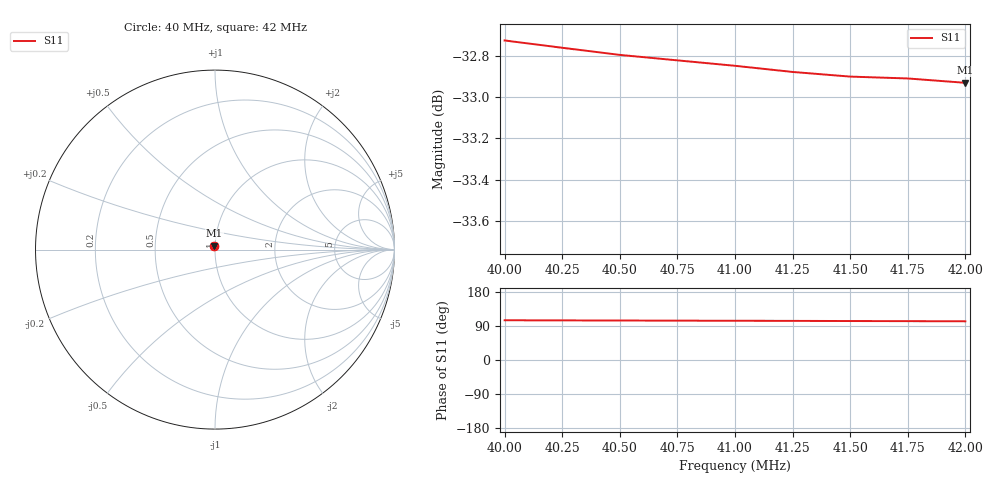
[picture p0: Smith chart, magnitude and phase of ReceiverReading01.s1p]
# Hz S RI R 50
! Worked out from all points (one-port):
!   9 points, 40 MHz to 42 MHz, reference 50 ohm
!   lowest |S11| = -32.9 dB at 42 MHz (marker M1), VSWR 1.05, Z = 49.5 + j2.18 ohm
!   |S11| at or under -10 dB: start of sweep to end of sweep
4e7  -0.00593 0.0223
4.025e7  -0.00576 0.0223
4.05e7  -0.00562 0.0222
4.075e7  -0.00547 0.0222
4.1e7  -0.00533 0.0222
4.125e7  -0.0052 0.0221
4.15e7  -0.00503 0.0221
4.175e7  -0.0049 0.0221
4.2e7  -0.00473 0.0221
